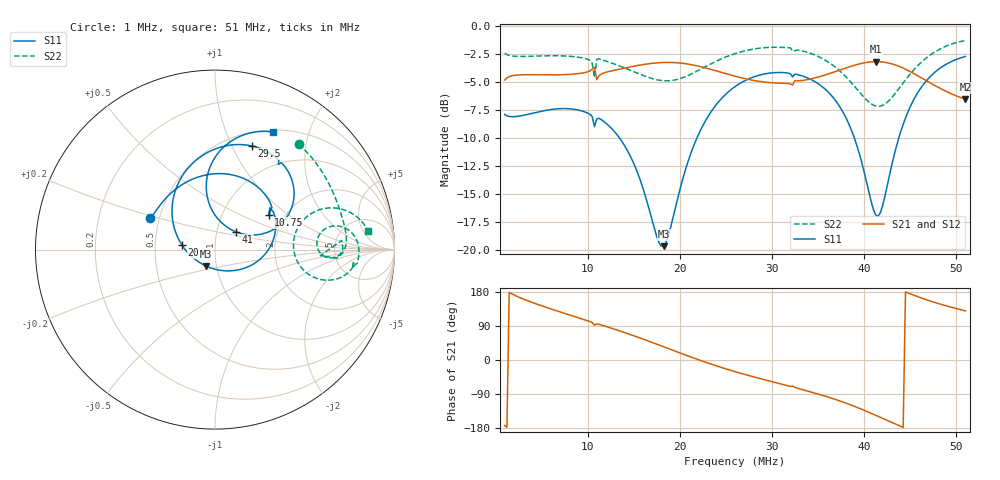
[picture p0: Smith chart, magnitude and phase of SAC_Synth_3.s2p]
# MHz S RI R 50
! S-Parameters data
! Freq  reS11  imS11  reS21  imS21  reS12  imS12  reS22  imS22
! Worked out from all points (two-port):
!   201 points, 1 MHz to 51 MHz, reference 50 ohm
!   highest |S21| = -3.20 dB at 41.25 MHz (marker M1); lowest = -6.5 dB at 51 MHz (marker M2)
!   |S21| within 3 dB of the highest: start of sweep to 49.86 MHz
!   lowest |S11| = -19.6 dB at 18.25 MHz (marker M3), VSWR 1.23, Z = 44.5 - j8.22 ohm
!   |S11| at or under -10 dB: 13.46 MHz to 21.87 MHz (8.409 MHz wide, 47.6 % of centre); 38.95 MHz to 43.77 MHz (4.825 MHz wide, 11.7 % of centre)
!   |S22| runs from -7.2 to -1.3 dB; largest |S21 - S12| = 0
!   S11 on the Smith chart (normalised r, x): 1 MHz: 0.44, +0.18; 10.75 MHz: 1.65, +0.73; 20 MHz: 0.69, +0.03; 29.5 MHz: 0.65, +1.19; 41 MHz: 1.24, +0.25; 51 MHz: 0.53, +1.47
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1  -0.3632 0.174  -0.568 -0.0734  -0.568 -0.0734  0.4686 0.5904
2  -0.3112 0.2407  -0.5946 0.0846  -0.5946 0.0846  0.6516 0.3325
3.25  -0.2295 0.3286  -0.5639 0.2192  -0.5639 0.2192  0.7001 0.2059
6.25  0.0309 0.4234  -0.4117 0.4417  -0.4117 0.4417  0.7305 0.081
9.5  0.274 0.3128  -0.1865 0.5873  -0.1865 0.5873  0.7181 -0.00616
10.5  0.3172 0.2341  -0.0996 0.6325  -0.0996 0.6325  0.6801 -0.0473
10.75  0.2984 0.1928  -0.0246 0.6526  -0.0246 0.6526  0.5869 -0.0339
11.25  0.3264 0.2078  -0.0448 0.5982  -0.0448 0.5982  0.7126 0.00503
14.25  0.2806 -0.0235  0.2184 0.613  0.2184 0.613  0.6415 -0.047
17.75  -0.00403 -0.1082  0.5272 0.4364  0.5272 0.4364  0.5722 0.00643
18.25  -0.0502 -0.0914  0.5618 0.3937  0.5618 0.3937  0.5686 0.0206
20  -0.1833 0.0239  0.6457 0.2206  0.6457 0.2206  0.5761 0.0732
22.75  -0.2305 0.2948  0.6466 -0.0619  0.6466 -0.0619  0.6428 0.1282
26  -0.0574 0.5323  0.5124 -0.3044  0.5124 -0.3044  0.7428 0.1097
29.5  0.204 0.5779  0.3286 -0.4526  0.3286 -0.4526  0.7999 0.0174
34.5  0.4341 0.3675  0.0404 -0.5816  0.0404 -0.5816  0.733 -0.1354
38.25  0.3503 0.1284  -0.2828 -0.5885  -0.2828 -0.5885  0.558 -0.1571
41  0.1163 0.0989  -0.5534 -0.4145  -0.5534 -0.4145  0.4428 -0.0233
41.25  0.0939 0.1092  -0.5727 -0.3884  -0.5727 -0.3884  0.4392 -0.00521
42.75  -0.0137 0.2143  -0.648 -0.2086  -0.648 -0.2086  0.4535 0.1055
46  0.00158 0.5159  -0.5747 0.148  -0.5747 0.148  0.6336 0.2321
51  0.3208 0.6551  -0.3007 0.3626  -0.3007 0.3626  0.8536 0.1026
